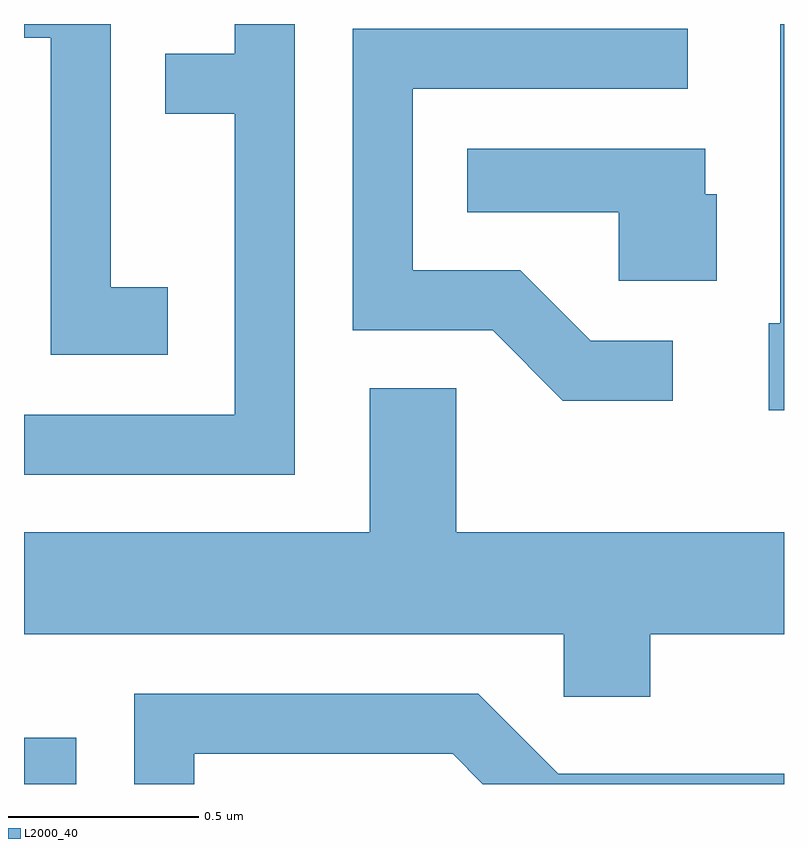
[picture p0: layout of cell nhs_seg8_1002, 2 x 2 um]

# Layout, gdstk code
import gdstk
lib = gdstk.Library(unit=1e-6, precision=1e-09)
def R(c, l, rs):  # rectangles x0, y0, x1, y1
    for r in rs: c.add(gdstk.rectangle(r[:2], r[2:], *l))
def P(c, l, *ps):  # polygons
    for p in ps: c.add(gdstk.Polygon(p, *l))
L2000_40 = (2000, 40)

nhs_seg8_1002 = lib.new_cell('nhs_seg8_1002')
R(nhs_seg8_1002, L2000_40, [(192.611,1849.342,192.749,1849.464)])
P(nhs_seg8_1002, L2000_40, [(193.324,1851.342),(193.166,1851.342),(193.166,1851.264),(192.983,1851.264),(192.983,1851.106),(193.166,1851.106),(193.166,1850.314),(192.611,1850.314),(192.611,1850.156),(193.324,1850.156)],
  [(194.611,1851.342),(194.601,1851.342),(194.601,1850.554),(194.571,1850.554),(194.571,1850.326),(194.611,1850.326)],
  [(192.989,1850.649),(192.839,1850.649),(192.839,1851.342),(192.611,1851.342),(192.611,1851.306),(192.681,1851.306),(192.681,1850.471),(192.989,1850.471)],
  [(194.318,1850.509),(194.102,1850.509),(193.917,1850.694),(193.634,1850.694),(193.634,1851.171),(194.358,1851.171),(194.358,1851.329),(193.476,1851.329),(193.476,1850.536),(193.844,1850.536),(194.029,1850.351),(194.318,1850.351)],
  [(194.434,1850.894),(194.404,1850.894),(194.404,1851.014),(193.778,1851.014),(193.778,1850.846),(194.176,1850.846),(194.176,1850.666),(194.434,1850.666)],
  [(194.259,1849.736),(194.611,1849.736),(194.611,1850.004),(193.749,1850.004),(193.749,1850.384),(193.521,1850.384),(193.521,1850.004),(192.611,1850.004),(192.611,1849.736),(194.031,1849.736),(194.031,1849.571),(194.259,1849.571)],
  [(193.059,1849.421),(193.739,1849.421),(193.818,1849.342),(194.611,1849.342),(194.611,1849.369),(194.017,1849.369),(193.807,1849.579),(192.901,1849.579),(192.901,1849.342),(193.059,1849.342)])

lib.write_gds('nhs_seg8_1002.gds')
